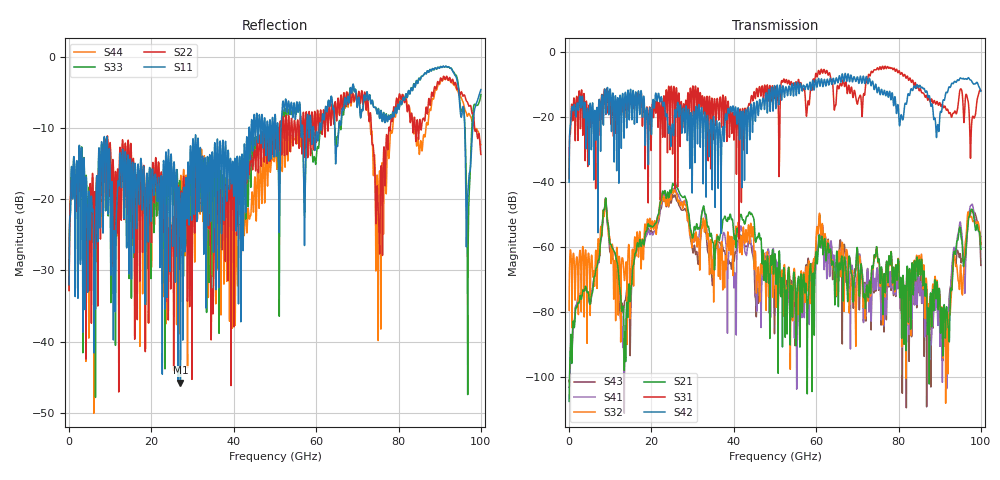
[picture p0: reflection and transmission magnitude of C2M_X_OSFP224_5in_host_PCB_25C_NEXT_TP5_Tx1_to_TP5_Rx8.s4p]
# GHz S RI R 45
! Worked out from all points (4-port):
!   4000 points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, 25 MHz to 100 GHz, reference 45 ohm
!   strongest paths, dB at 25 MHz, 25.02 GHz, 50.02 GHz, 75.03 GHz, 100 GHz:
!     S42: -40.0, -22.4, -11.9, -11.5, -12.0
!     S31: -38.9, -14.8, -10.6, -5.1, -11.7
!     S21: -107.4, -41.3, -62.2, -64.5, -60.6
!     S32: -79.4, -42.3, -66.1, -64.8, -59.1
!     S41: -103.1, -42.7, -65.3, -68.8, -56.9
!     S43: -101.0, -44.5, -77.3, -68.8, -65.6
!   lowest |S11| = -45.8 dB at 27.05 GHz (marker M1), VSWR 1.01, Z = 45.2 - j0.428 ohm
!   |S11| at or under -10 dB: start of sweep to 43.71 GHz; 59.39 GHz to 60.74 GHz (1.355 GHz wide, 2.26 % of centre); 96.08 GHz to 98 GHz (1.928 GHz wide, 1.99 % of centre) (the widest 3 of 21)
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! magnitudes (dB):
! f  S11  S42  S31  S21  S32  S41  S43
! 25 MHz  -32.0  -40.0  -38.9  -107.4  -79.4  -103.1  -101.0
! 8.65 GHz  -11.7  -11.4  -11.5  -47.8  -48.5  -47.8  -48.1
! 27.05 GHz  -45.8  -16.3  -21.4  -43.9  -47.1  -45.5  -48.0
! 55.02 GHz  -8.4  -10.9  -9.4  -75.1  -84.0  -79.8  -83.3
! 60.6 GHz  -11.2  -8.1  -5.6  -58.3  -53.1  -57.7  -53.6
! 91.12 GHz  -1.4  -14.8  -16.8  -77.9  -80.2  -90.2  -88.1
! 100 GHz  -4.6  -12.0  -11.7  -60.6  -59.1  -56.9  -65.6
